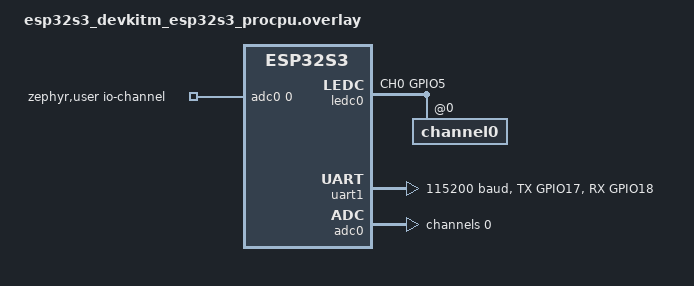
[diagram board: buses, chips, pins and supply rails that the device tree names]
/ {
	zephyr,user {
		io-channels = <&adc0 0>;
	};
};

&pinctrl {
    ledc0_custom: ledc0_custom {
        group1 {
            pinmux = <LEDC_CH0_GPIO5>;
            output-enable;
        };
    };

    uart1_custom: uart1_custom {
        group1 {
            pinmux = <UART1_TX_GPIO17>;
            output-high;
        }
        group2 {
            pinmux = <UART1_RX_GPIO18>;
            bias-pull-up;
        }
    };
};

&ledc0 {
    pinctrl-0 = <&ledc0_custom>;
    pinctrl-names = "default";
    status = "okay";
    #address-cells = <1>;
    #size-cells = <0>;

    channel0@0 {
        reg = <0x0>;
        timer = <0>;
    };
};

&uart1 {
    status = "okay";
    current-speed = <115200>;
    pinctrl-0 = <&uart1_custom>;
    pinctrl-names = "default";
}

&adc0 {
	status = "okay";
	#address-cells = <1>;
	#size-cells = <0>;

	channel@0 {
		reg = <0>;
		zephyr,gain = "ADC_GAIN_1_4";
		zephyr,reference = "ADC_REF_INTERNAL";
		zephyr,acquisition-time = <ADC_ACQ_TIME_DEFAULT>;
		zephyr,resolution = <12>;
	};
};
